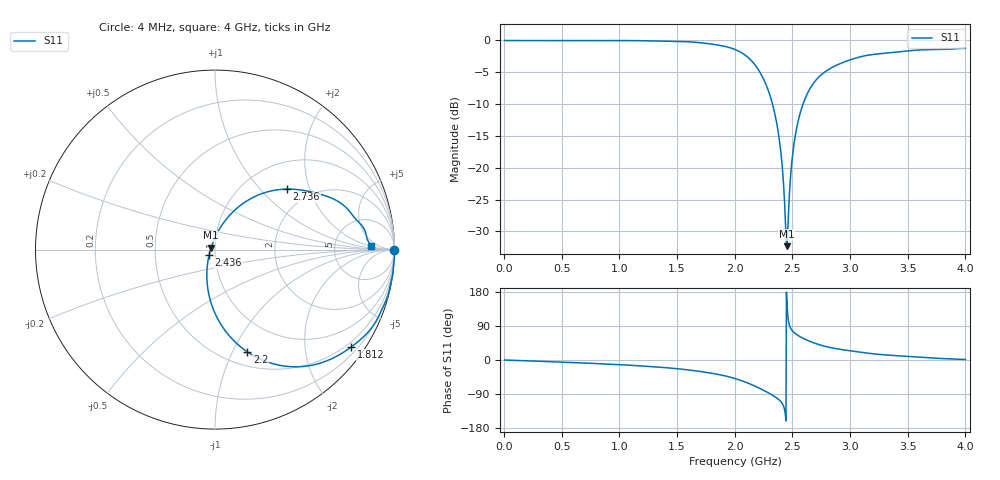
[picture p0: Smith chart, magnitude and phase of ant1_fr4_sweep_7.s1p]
! TOUCHSTONE file generated by CST MICROWAVE STUDIO
! Date and time: Fri May  6 15:38:54 2022
! Project name: ant1_ceramic_sweep_fr4.cst
! Parameters = {e=0.035; h=1.6; i=0.8; l1=0.495; l2=20.96; ls=80; wl=1.7; ws=30}
! Header version: 2018
! Port assignment regex: !\s*Touchstone port\s*([0-9]+)\s*=\s*(CST MWS port|CST DS port)\s*([0-9]+|Zmin|Zmax)\s*\(\"(.*)\"\)(\s*mode\s*([0-9]+))?.*
! Touchstone port assignment:
! Touchstone port 1 = CST MWS port 1 ("")
# GHz S DB R 50
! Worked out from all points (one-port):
!   1000 points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, 4 MHz to 4 GHz, reference 50 ohm
!   lowest |S11| = -32.3 dB at 2.452 GHz (marker M1), VSWR 1.05, Z = 47.8 + j0.978 ohm
!   |S11| at or under -10 dB: 2.327 GHz to 2.592 GHz (264.7 MHz wide, 10.8 % of centre)
!   S11 on the Smith chart (normalised r, x): 4 MHz: open; 1.812 GHz: 0.37, -3.08; 2.2 GHz: 0.64, -1.15; 2.436 GHz: 0.93, -0.06; 2.736 GHz: 1.53, +1.43; 4 GHz: 14, +2
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0.004  -0.01 -0.0
0.504  -0.01 -5.6
1.004  -0.02 -12.3
1.504  -0.14 -23.1
1.812  -0.60 -35.6
2.004  -1.43 -49.1
2.108  -2.56 -60.2
2.2  -4.46 -72.4
2.292  -7.93 -86.7
2.36  -12.64 -99.3
2.384  -15.27 -105.1
2.404  -18.31 -111.5
2.416  -20.78 -117.1
2.436  -27.09 -137.8
2.444  -30.65 -160.9
2.452  -32.33 155.0
2.464  -27.77 106.8
2.488  -20.47 82.0
2.504  -17.61 75.5
2.54  -13.47 66.5
2.592  -9.99 57.4
2.656  -7.46 48.7
2.736  -5.62 40.1
2.848  -4.20 31.7
3.004  -3.02 24.2
3.192  -2.22 16.7
3.504  -1.64 9.4
4  -1.21 1.3
